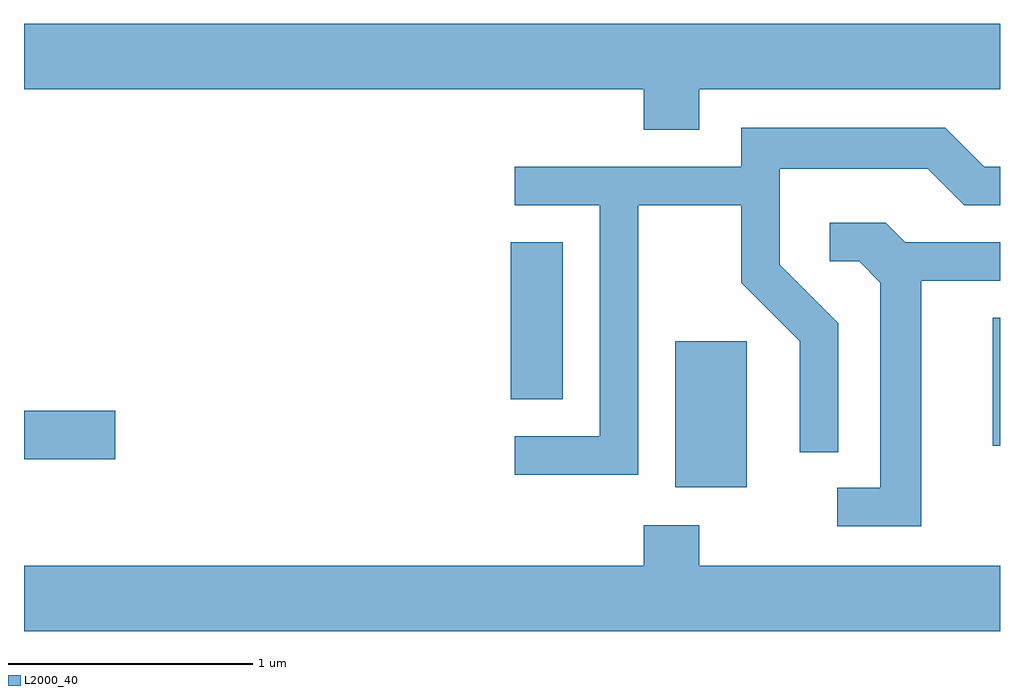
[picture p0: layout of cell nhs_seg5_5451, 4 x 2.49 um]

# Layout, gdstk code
import gdstk
lib = gdstk.Library(unit=1e-6, precision=1e-09)
def R(c, l, rs):  # rectangles x0, y0, x1, y1
    for r in rs: c.add(gdstk.rectangle(r[:2], r[2:], *l))
def P(c, l, *ps):  # polygons
    for p in ps: c.add(gdstk.Polygon(p, *l))
L2000_40 = (2000, 40)

nhs_seg5_5451 = lib.new_cell('nhs_seg5_5451')
R(nhs_seg5_5451, L2000_40, [(350.281,1397.446,350.574,1398.044), (347.611,1397.561,347.984,1397.759), (351.581,1397.616,351.611,1398.139), (349.606,1397.806,349.819,1398.449)])
P(nhs_seg5_5451, L2000_40, [(350.379,1399.076),(351.611,1399.076),(351.611,1399.344),(347.611,1399.344),(347.611,1399.076),(350.151,1399.076),(350.151,1398.911),(350.379,1398.911)],
  [(350.129,1398.601),(350.551,1398.601),(350.551,1398.284),(350.791,1398.044),(350.791,1397.588),(350.949,1397.588),(350.949,1398.117),(350.709,1398.357),(350.709,1398.751),(351.314,1398.751),(351.464,1398.601),(351.611,1398.601),(351.611,1398.759),(351.547,1398.759),(351.387,1398.919),(350.551,1398.919),(350.551,1398.759),(349.623,1398.759),(349.623,1398.601),(349.971,1398.601),(349.971,1397.654),(349.623,1397.654),(349.623,1397.496),(350.129,1397.496)],
  [(351.289,1398.291),(351.611,1398.291),(351.611,1398.449),(351.222,1398.449),(351.142,1398.529),(350.913,1398.529),(350.913,1398.371),(351.034,1398.371),(351.121,1398.284),(351.121,1397.444),(350.943,1397.444),(350.943,1397.286),(351.289,1397.286)],
  [(351.611,1397.124),(350.379,1397.124),(350.379,1397.289),(350.151,1397.289),(350.151,1397.124),(347.611,1397.124),(347.611,1396.856),(351.611,1396.856)])

lib.write_gds('nhs_seg5_5451.gds')
